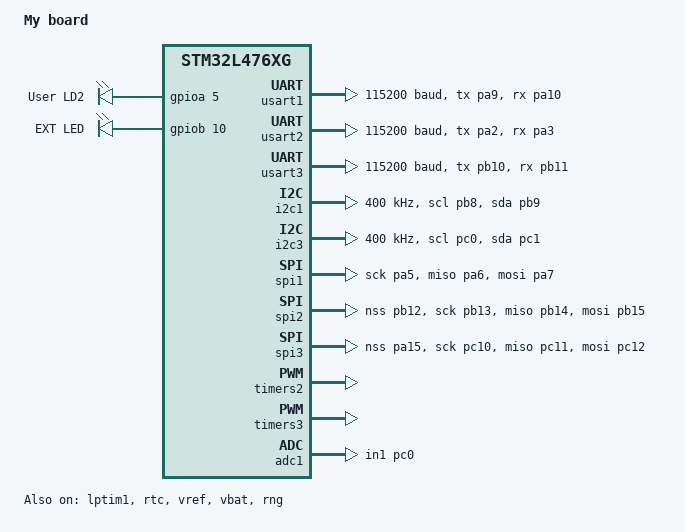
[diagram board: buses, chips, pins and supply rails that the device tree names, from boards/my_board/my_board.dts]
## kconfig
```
menuconfig LED_SUBSYSTEM
    bool "LED Subsystem for blinking an LED"
    default y
    help
      Enable/Disable the system for the LED.

if (LED_SUBSYSTEM)

    choice
	    prompt "LED blink sleep time"

        default BLINK_SLEEP_1000
        help 
            Choose the sleep time for the LED blinking. This determines how long the LED stays on and off during each blink cycle.       

        config BLINK_SLEEP_250
            bool "250 ms (super fast blink)"
            help
                A very fast blink rate.              

        config BLINK_SLEEP_500
            bool "500 ms (fast blink)"
            help
                A fast blink rate.

        config BLINK_SLEEP_1000
            bool "1 s (medium blink)"
            help
                A medium blink rate.              

        config BLINK_SLEEP_2000
            bool "2 s (slow blink)"
            help
                A slow blink rate.

        config BLINK_SLEEP_CUSTOM
            bool "Custom value..."
            help
                Allows you to specify a custom sleep time for the LED blinking.   
    endchoice

    # This input only appears if "Custom value..." is selected above
    config BLINK_SLEEP_CUSTOM_VALUE
        int "Enter value (250-3000)"
        range 250 3000
        default 250
        depends on BLINK_SLEEP_CUSTOM 

    config BLINK_SLEEP_MS
        int
        default 250 if BLINK_SLEEP_250
        default 500 if BLINK_SLEEP_500       
        default 1000 if BLINK_SLEEP_1000
        default 2000 if BLINK_SLEEP_2000
        default BLINK_SLEEP_CUSTOM_VALUE if BLINK_SLEEP_CUSTOM
        help
            The actual sleep time in milliseconds, determined by the selected blink rate.

    menuconfig ADVANCED_LED_SETTINGS
        bool "Advanced LED settings"
        default n

    if (ADVANCED_LED_SETTINGS)

        config LED_BRIGHTNESS
            int "LED brightness (0-100)"	
            range 0 100
            default 50
            help
                Set the brightness of the LED. A value of 0 means the LED is off, while 100 means full brightness.

        config LED_FADE_DURATION_MS
            int "LED Fade Duration (ms)"	
            range 0 BLINK_SLEEP_MS
            default 0
            help
                The value must be between 1 and the value of BLINK_SLEEP_MS. Not implemented.

        menu "Expert settings"
            visible if ADVANCED_LED_SETTINGS

            config LED_DEBUG
                bool "Enable LED debugging"
                default y
                help
                  Enables debug output for the LED subsystem.

            config BLINK_PATTERN
                bool "Custom blink pattern"
                default n
                help
                  Not implemented

        endmenu

    endif
    config APP_HEARTBEAT_PERIOD_MS
        int "Application Heartbeat Period (ms)"
        default 500
        range 100 2000
        help
            Set the period for the application heartbeat in milliseconds.
endif

menu "Zephyr Kernel and Subsystems"
    source "${ZEPHYR_BASE}/Kconfig.zephyr"
endmenu
```

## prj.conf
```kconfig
CONFIG_GPIO=y
CONFIG_LOG=y

# CONFIG_BLINK_SLEEP_250MS=y
#CONFIG_PWM=y


CONFIG_DEBUG=y
CONFIG_DEBUG_OPTIMIZATIONS=y
CONFIG_NO_OPTIMIZATIONS=n
CONFIG_DEBUG_THREAD_INFO=y

CONFIG_ADVANCED_LED_SETTINGS=y
CONFIG_APP_HEARTBEAT_PERIOD_MS=500
```

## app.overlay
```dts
/{
	leds: leds {
		compatible = "gpio-leds";
		green_led_2: led_2 {
			gpios = <&gpioa 5 GPIO_ACTIVE_HIGH>;
		};
	};
    aliases{
        app-led = &green_led_2;
    };
};
```

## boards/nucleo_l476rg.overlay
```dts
/ {
    pwmleds: pwmleds {
        compatible = "pwm-leds";
        status = "okay";
        green_pwm_led: green_pwm_led {
            pwms = <&pwm2 3 PWM_MSEC(20) PWM_POLARITY_NORMAL>;
            /*          ^ channel 3, matches tim2_ch3_pb10 */
        };
    };
    aliases {
        pwm-led0 = &green_pwm_led;
    };
};

&pwm2 {
    status = "okay";
};
```

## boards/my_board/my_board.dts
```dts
/*
 * Copyright (c) 2017 Linaro Limited
 *
 * SPDX-License-Identifier: Apache-2.0
 */

/dts-v1/;
#include <st/l4/stm32l476Xg.dtsi>
#include <st/l4/stm32l476r(c-e-g)tx-pinctrl.dtsi>
#include <zephyr/dt-bindings/input/input-event-codes.h>

/ {
	model = "My board";
	compatible = "st,my_board";

	chosen {
		zephyr,console = &usart2;
		zephyr,shell-uart = &usart2;
		zephyr,sram = &sram0;
		zephyr,flash = &flash0;
	};

	leds: leds {
		compatible = "gpio-leds";

		green_led_2: led_2 {
			gpios = <&gpioa 5 GPIO_ACTIVE_HIGH>;
			label = "User LD2";
		};
		ext_led: led_1 {
			gpios = <&gpiob 10 GPIO_ACTIVE_HIGH>;
			label = "EXT LED";
		};
	};

	aliases {
		led0 = &green_led_2;
		led1 = &ext_led;
	
	};
};

&clk_lsi {
	status = "okay";
};

&clk_lse {
	status = "okay";
};

&clk_hsi {
	status = "okay";
};

&pll {
	div-m = <1>;
	mul-n = <20>;
	div-r = <4>;
	div-q = <8>;
	clocks = <&clk_hsi>;
	status = "okay";
};

&rcc {
	clocks = <&pll>;
	clock-frequency = <DT_FREQ_M(80)>;
	ahb-prescaler = <1>;
	apb1-prescaler = <1>;
	apb2-prescaler = <1>;
};

stm32_lp_tick_source: &lptim1 {
	clocks = <&rcc STM32_CLOCK_BUS_APB1 0x80000000>,
		 <&rcc STM32_SRC_LSI LPTIM1_SEL(1)>;
	status = "okay";
};

&usart1 {
	pinctrl-0 = <&usart1_tx_pa9 &usart1_rx_pa10>;
	pinctrl-names = "default";
	current-speed = <115200>;
	status = "okay";
};

&usart2 {
	pinctrl-0 = <&usart2_tx_pa2 &usart2_rx_pa3>;
	pinctrl-names = "default";
	current-speed = <115200>;
	status = "okay";
};

&usart3 {
	pinctrl-0 = <&usart3_tx_pb10 &usart3_rx_pb11>;
	pinctrl-names = "default";
	current-speed = <115200>;
};

&i2c1 {
	pinctrl-0 = <&i2c1_scl_pb8 &i2c1_sda_pb9>;
	pinctrl-names = "default";
	status = "okay";
	clock-frequency = <I2C_BITRATE_FAST>;
};

&i2c3 {
	pinctrl-0 = <&i2c3_scl_pc0 &i2c3_sda_pc1>;
	pinctrl-names = "default";
	status = "okay";
	clock-frequency = <I2C_BITRATE_FAST>;
};

&spi1 {
	pinctrl-0 = <&spi1_sck_pa5 &spi1_miso_pa6 &spi1_mosi_pa7>;
	pinctrl-names = "default";
	cs-gpios = <&gpiob 6 (GPIO_ACTIVE_LOW | GPIO_PULL_UP)>;
	status = "okay";
};

&spi2 {
	pinctrl-0 = <&spi2_nss_pb12 &spi2_sck_pb13
		     &spi2_miso_pb14 &spi2_mosi_pb15>;
	pinctrl-names = "default";
	status = "okay";
};

&spi3 {
	/* SPI3 on the ST Morpho Connector CN7 pins 17, 1, 2, 3*/
	pinctrl-0 = <&spi3_nss_pa15 &spi3_sck_pc10
		     &spi3_miso_pc11 &spi3_mosi_pc12>;
	pinctrl-names = "default";
	status = "okay";
};

&timers2 {
	status = "okay";

	pwm2: pwm {
		status = "okay";
		pinctrl-0 = <&tim2_ch3_pb10>;
		pinctrl-names = "default";
	};
};

&timers3 {
	st,prescaler = <10000>;
	status = "okay";

	pwm3: pwm {
		status = "okay";
		pinctrl-0 = <&tim3_ch1_pb4>;
		pinctrl-names = "default";
	};
};

&rtc {
	clocks = <&rcc STM32_CLOCK_BUS_APB1 0x10000000>,
		 <&rcc STM32_SRC_LSI RTC_SEL(2)>;
	status = "okay";
};

&adc1 {
	pinctrl-0 = <&adc1_in1_pc0>;
	pinctrl-names = "default";
	st,adc-clock-source = "SYNC";
	st,adc-prescaler = <4>;
	status = "okay";
};

&vref {
	status = "okay";
};

&vbat {
	status = "okay";
};

&flash0 {
	partitions {
		compatible = "fixed-partitions";
		#address-cells = <1>;
		#size-cells = <1>;

		/* Set 32KB of storage at the end of 1024KB flash */
		storage_partition: partition@f8000 {
			label = "storage";
			reg = <0x000f8000 DT_SIZE_K(32)>;
		};
	};
};

&rng {
	/* Change clock source to avoid using MSI */
	clocks = <&rcc STM32_CLOCK(AHB2, 18U)>,
		 <&rcc STM32_SRC_PLL_Q CLK48_SEL(2)>;
	status = "okay";
};
```

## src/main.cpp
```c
#include <zephyr/kernel.h>
#include <zephyr/device.h>
#include <zephyr/drivers/gpio.h>
#include <zephyr/logging/log.h>

#define LED_NODE DT_ALIAS(led1)

static const struct gpio_dt_spec led = GPIO_DT_SPEC_GET(LED_NODE, gpios);

LOG_MODULE_REGISTER(main, LOG_LEVEL_INF);

int main(void)
{
    bool led_state = true;

    LOG_INF("Hello World! %s", CONFIG_BOARD);

    if (!gpio_is_ready_dt(&led)) return 0;

    if (gpio_pin_configure_dt(&led, GPIO_OUTPUT_ACTIVE) < 0) return 0;

    while (1) {
        if (gpio_pin_toggle_dt(&led) < 0) return 0;

        led_state = !led_state;
        LOG_INF("LED state: %s", led_state ? "ON" : "OFF");
        k_msleep(CONFIG_APP_HEARTBEAT_PERIOD_MS);
    }
    return 0;
}
```
